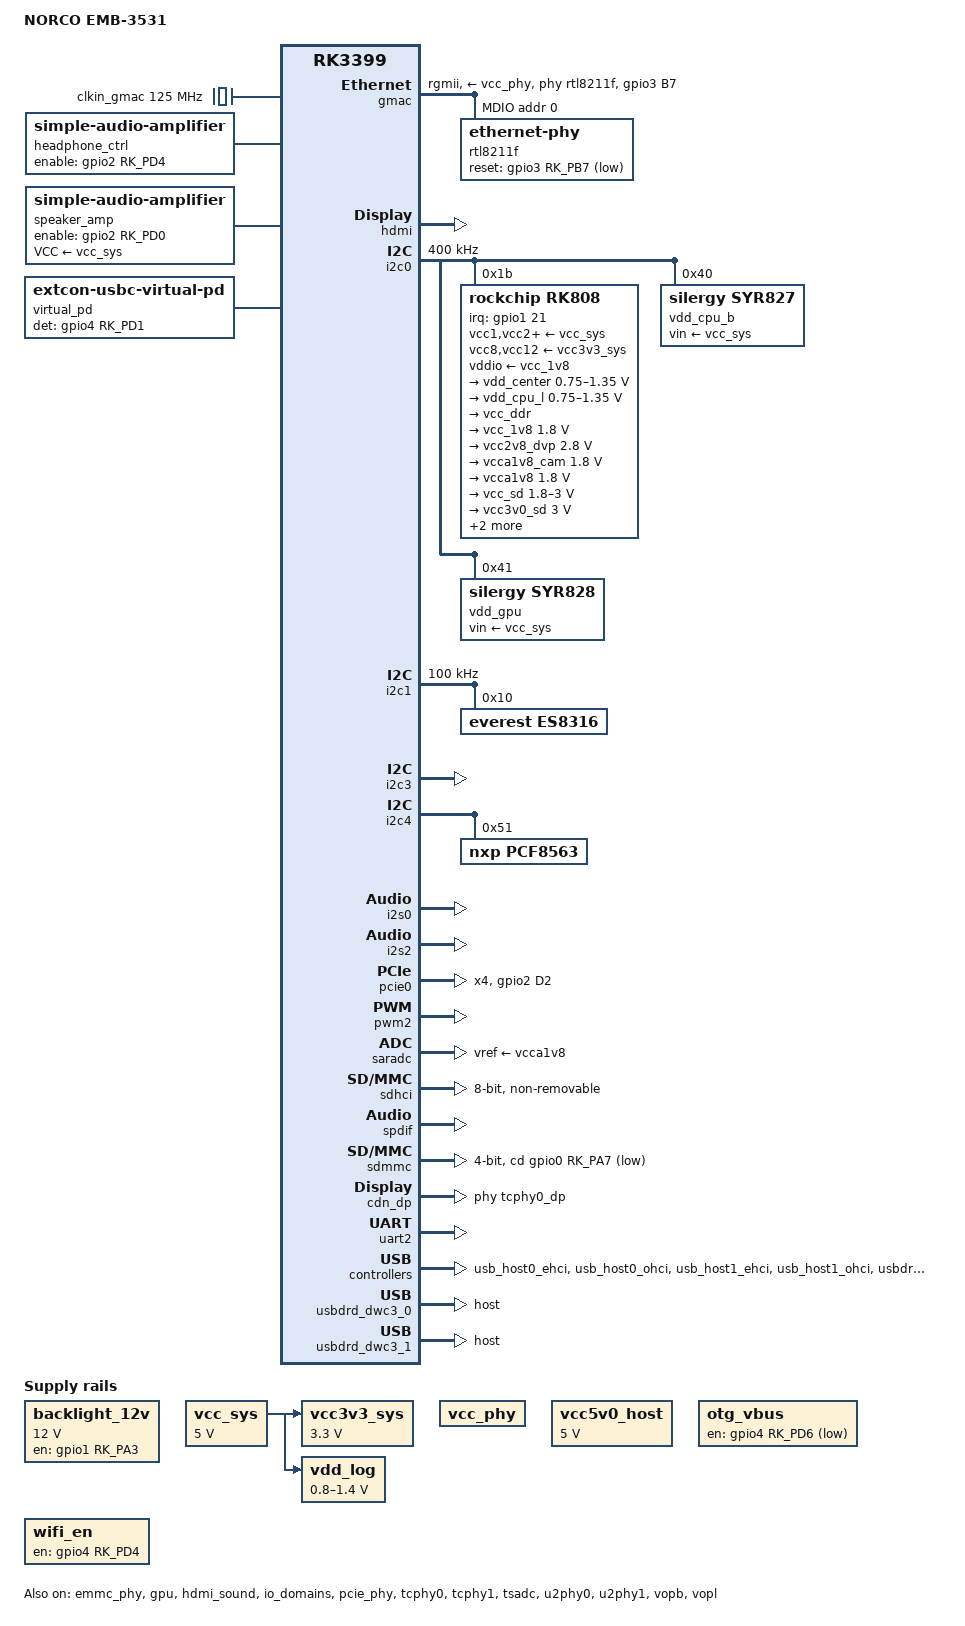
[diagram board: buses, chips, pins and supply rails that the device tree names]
// SPDX-License-Identifier: (GPL-2.0+ OR MIT)
/*
 * Copyright (c) 2017 Fuzhou Rockchip Electronics Co., Ltd.
 * Copyright (c) 2026 retro98boy <retro98boy@qq.com>
 */

/dts-v1/;

#include <dt-bindings/pwm/pwm.h>
#include "rk3399.dtsi"

/ {
	model = "NORCO EMB-3531";
	compatible = "norco,emb-3531", "rockchip,rk3399";

	aliases {
		ethernet0 = &gmac;
		mmc0 = &sdhci;
		mmc1 = &sdmmc;
		rtc0 = &pcf8563;
		rtc1 = &rk808;
	};

	chosen {
		stdout-path = "serial2:1500000n8";
	};

	clkin_gmac: external-gmac-clock {
		compatible = "fixed-clock";
		clock-frequency = <125000000>;
		clock-output-names = "clkin_gmac";
		#clock-cells = <0>;
	};

	analog-sound {
		compatible = "simple-audio-card";
		simple-audio-card,name = "emb-3531";
		simple-audio-card,format = "i2s";
		simple-audio-card,mclk-fs = <256>;

		simple-audio-card,widgets =
			"Microphone", "Mic Header",
			"Microphone", "Headset Mic",
			"Headphone", "Headphones",
			"Speaker", "Speakers";
		simple-audio-card,routing =
			"MIC1", "Mic Header",
			"MIC2", "Headset Mic",
			"Headphone Ctrl INL", "HPOL",
			"Headphone Ctrl INR", "HPOR",
			"Headphones", "Headphone Ctrl OUTL",
			"Headphones", "Headphone Ctrl OUTR",
			"Speaker Amplifier INL", "HPOL",
			"Speaker Amplifier INR", "HPOR",
			"Speakers", "Speaker Amplifier OUTL",
			"Speakers", "Speaker Amplifier OUTR";

		simple-audio-card,aux-devs = <&headphone_ctrl &speaker_amp>;
		simple-audio-card,pin-switches = "Headphones", "Speakers";

		simple-audio-card,cpu {
			sound-dai = <&i2s0>;
		};

		simple-audio-card,codec {
			sound-dai = <&es8316>;
		};
	};

	headphone_ctrl: headphone-ctrl {
		compatible = "simple-audio-amplifier";
		enable-gpios = <&gpio2 RK_PD4 GPIO_ACTIVE_HIGH>;
		pinctrl-names = "default";
		pinctrl-0 = <&headphone_en>;
		sound-name-prefix = "Headphone Ctrl";
	};

	speaker_amp: speaker-amplifier {
		compatible = "simple-audio-amplifier";
		enable-gpios = <&gpio2 RK_PD0 GPIO_ACTIVE_HIGH>;
		pinctrl-names = "default";
		pinctrl-0 = <&speaker_amp_en>;
		sound-name-prefix = "Speaker Amplifier";
		VCC-supply = <&vcc_sys>;
	};

	backlight_12v: regulator-backlight-12v {
		compatible = "regulator-fixed";
		enable-active-high;
		gpio = <&gpio1 RK_PA3 GPIO_ACTIVE_HIGH>;
		pinctrl-names = "default";
		pinctrl-0 = <&backlight_12v_en>;
		regulator-name = "backlight_12v";
		regulator-always-on;
		regulator-boot-on;
		regulator-min-microvolt = <12000000>;
		regulator-max-microvolt = <12000000>;
	};

	vcc_sys: regulator-vcc-sys {
		compatible = "regulator-fixed";
		regulator-name = "vcc_sys";
		regulator-always-on;
		regulator-boot-on;
		regulator-min-microvolt = <5000000>;
		regulator-max-microvolt = <5000000>;
	};

	vcc_phy: regulator-vcc-phy {
		compatible = "regulator-fixed";
		regulator-name = "vcc_phy";
		regulator-always-on;
		regulator-boot-on;
	};

	vcc3v3_sys: regulator-vcc3v3-sys {
		compatible = "regulator-fixed";
		regulator-name = "vcc3v3_sys";
		regulator-always-on;
		regulator-boot-on;
		regulator-min-microvolt = <3300000>;
		regulator-max-microvolt = <3300000>;
		vin-supply = <&vcc_sys>;
	};

	vcc5v0_host: regulator-vcc5v0-host {
		compatible = "regulator-fixed";
		regulator-name = "vcc5v0_host";
		regulator-always-on;
		regulator-boot-on;
		regulator-min-microvolt = <5000000>;
		regulator-max-microvolt = <5000000>;
	};

	/* Micro USB */
	regulator-otg-vbus {
		compatible = "regulator-fixed";
		enable-active-low;
		gpio = <&gpio4 RK_PD6 GPIO_ACTIVE_LOW>;
		pinctrl-names = "default";
		pinctrl-0 = <&otg_vbus_en>;
		regulator-name = "otg_vbus";
		regulator-always-on;
		regulator-boot-on;
	};

	/* RTL8188ETV */
	regulator-wifi-en {
		compatible = "regulator-fixed";
		enable-active-high;
		gpio = <&gpio4 RK_PD4 GPIO_ACTIVE_HIGH>;
		pinctrl-names = "default";
		pinctrl-0 = <&wifi_en>;
		regulator-name = "wifi_en";
		regulator-always-on;
		regulator-boot-on;
	};

	vdd_log: regulator-vdd-log {
		compatible = "pwm-regulator";
		pwms = <&pwm2 0 25000 1>;
		pwm-supply = <&vcc_sys>;
		regulator-name = "vdd_log";
		regulator-always-on;
		regulator-boot-on;
		regulator-min-microvolt = <800000>;
		regulator-max-microvolt = <1400000>;
	};

	virtual_pd: virtual-pd {
		compatible = "linux,extcon-usbc-virtual-pd";
		pinctrl-names = "default";
		pinctrl-0 = <&dp_hpd>;
		det-gpios = <&gpio4 RK_PD1 GPIO_ACTIVE_HIGH>;
		vpd-data-role = "display-port";
		vpd-super-speed;
	};

	dp-sound {
		compatible = "simple-audio-card";
		simple-audio-card,format = "i2s";
		simple-audio-card,mclk-fs = <256>;
		simple-audio-card,name = "dp-sound";

		simple-audio-card,cpu {
			/* sound-dai = <&i2s2>; */
			sound-dai = <&spdif>;
		};

		simple-audio-card,codec {
			/* sound-dai = <&cdn_dp 0>; */
			sound-dai = <&cdn_dp 1>;
		};
	};
};

&cpu_l0 {
	cpu-supply = <&vdd_cpu_l>;
};

&cpu_l1 {
	cpu-supply = <&vdd_cpu_l>;
};

&cpu_l2 {
	cpu-supply = <&vdd_cpu_l>;
};

&cpu_l3 {
	cpu-supply = <&vdd_cpu_l>;
};

&cpu_b0 {
	cpu-supply = <&vdd_cpu_b>;
};

&cpu_b1 {
	cpu-supply = <&vdd_cpu_b>;
};

&emmc_phy {
	status = "okay";
};

&gmac {
	assigned-clock-parents = <&clkin_gmac>;
	assigned-clocks = <&cru SCLK_RMII_SRC>;
	clock_in_out = "input";
	pinctrl-names = "default";
	pinctrl-0 = <&rgmii_pins>, <&phy_rst_l>;
	phy-handle = <&rtl8211f>;
	phy-mode = "rgmii";
	phy-supply = <&vcc_phy>;
	tx_delay = <0x23>;
	rx_delay = <0x23>;
	status = "okay";

	mdio {
		compatible = "snps,dwmac-mdio";
		#address-cells = <1>;
		#size-cells = <0>;

		rtl8211f: ethernet-phy@0 {
			reg = <0>;
			reset-assert-us = <10000>;
			reset-deassert-us = <30000>;
			reset-gpios = <&gpio3 RK_PB7 GPIO_ACTIVE_LOW>;
			realtek,led-data = <0x820b>;
		};
	};
};

&gpu {
	mali-supply = <&vdd_gpu>;
	status = "okay";
};

&hdmi {
	ddc-i2c-bus = <&i2c3>;
	pinctrl-names = "default";
	pinctrl-0 = <&hdmi_cec>;
	status = "okay";
};

&hdmi_sound {
	status = "okay";
};

&i2c0 {
	clock-frequency = <400000>;
	i2c-scl-rising-time-ns = <168>;
	i2c-scl-falling-time-ns = <4>;
	status = "okay";

	rk808: pmic@1b {
		compatible = "rockchip,rk808";
		reg = <0x1b>;
		interrupt-parent = <&gpio1>;
		interrupts = <21 IRQ_TYPE_LEVEL_LOW>;
		#clock-cells = <1>;
		clock-output-names = "xin32k", "rk808-clkout2";
		pinctrl-names = "default";
		pinctrl-0 = <&pmic_int_l>;
		system-power-controller;
		wakeup-source;

		vcc1-supply = <&vcc_sys>;
		vcc2-supply = <&vcc_sys>;
		vcc3-supply = <&vcc_sys>;
		vcc4-supply = <&vcc_sys>;
		vcc6-supply = <&vcc_sys>;
		vcc7-supply = <&vcc_sys>;
		vcc8-supply = <&vcc3v3_sys>;
		vcc9-supply = <&vcc_sys>;
		vcc10-supply = <&vcc_sys>;
		vcc11-supply = <&vcc_sys>;
		vcc12-supply = <&vcc3v3_sys>;
		vddio-supply = <&vcc_1v8>;

		regulators {
			vdd_center: DCDC_REG1 {
				regulator-name = "vdd_center";
				regulator-always-on;
				regulator-boot-on;
				regulator-min-microvolt = <750000>;
				regulator-max-microvolt = <1350000>;
				regulator-ramp-delay = <6001>;
				regulator-state-mem {
					regulator-off-in-suspend;
				};
			};

			vdd_cpu_l: DCDC_REG2 {
				regulator-name = "vdd_cpu_l";
				regulator-always-on;
				regulator-boot-on;
				regulator-min-microvolt = <750000>;
				regulator-max-microvolt = <1350000>;
				regulator-ramp-delay = <6001>;
				regulator-state-mem {
					regulator-off-in-suspend;
				};
			};

			vcc_ddr: DCDC_REG3 {
				regulator-name = "vcc_ddr";
				regulator-always-on;
				regulator-boot-on;
				regulator-state-mem {
					regulator-on-in-suspend;
				};
			};

			vcc_1v8: DCDC_REG4 {
				regulator-name = "vcc_1v8";
				regulator-always-on;
				regulator-boot-on;
				regulator-min-microvolt = <1800000>;
				regulator-max-microvolt = <1800000>;
				regulator-state-mem {
					regulator-on-in-suspend;
					regulator-suspend-microvolt = <1800000>;
				};
			};

			vcc2v8_dvp: LDO_REG1 {
				regulator-name = "vcc2v8_dvp";
				regulator-always-on;
				regulator-boot-on;
				regulator-min-microvolt = <2800000>;
				regulator-max-microvolt = <2800000>;
				regulator-state-mem {
					regulator-off-in-suspend;
				};
			};

			vcca1v8_cam: LDO_REG2 {
				regulator-name = "vcca1v8_cam";
				regulator-min-microvolt = <1800000>;
				regulator-max-microvolt = <1800000>;
				regulator-state-mem {
					regulator-off-in-suspend;
				};
			};

			vcca1v8: LDO_REG3 {
				regulator-name = "vcca1v8";
				regulator-always-on;
				regulator-boot-on;
				regulator-min-microvolt = <1800000>;
				regulator-max-microvolt = <1800000>;
				regulator-state-mem {
					regulator-on-in-suspend;
					regulator-suspend-microvolt = <1800000>;
				};
			};

			vcc_sd: LDO_REG4 {
				regulator-name = "vcc_sd";
				regulator-always-on;
				regulator-boot-on;
				regulator-min-microvolt = <1800000>;
				regulator-max-microvolt = <3000000>;
				regulator-state-mem {
					regulator-on-in-suspend;
					regulator-suspend-microvolt = <3000000>;
				};
			};

			vcc3v0_sd: LDO_REG5 {
				regulator-name = "vcc3v0_sd";
				regulator-always-on;
				regulator-boot-on;
				regulator-min-microvolt = <3000000>;
				regulator-max-microvolt = <3000000>;
				regulator-state-mem {
					regulator-off-in-suspend;
				};
			};

			vcc_1v5: LDO_REG6 {
				regulator-name = "vcc_1v5";
				regulator-always-on;
				regulator-boot-on;
				regulator-min-microvolt = <1500000>;
				regulator-max-microvolt = <1500000>;
				regulator-state-mem {
					regulator-off-in-suspend;
				};
			};

			vcca1v8_codec: LDO_REG7 {
				regulator-name = "vcca1v8_codec";
				regulator-always-on;
				regulator-boot-on;
				regulator-min-microvolt = <1800000>;
				regulator-max-microvolt = <1800000>;
				regulator-state-mem {
					regulator-off-in-suspend;
				};
			};

			vcc_3v0: LDO_REG8 {
				regulator-name = "vcc_3v0";
				regulator-always-on;
				regulator-boot-on;
				regulator-min-microvolt = <3000000>;
				regulator-max-microvolt = <3000000>;
				regulator-state-mem {
					regulator-on-in-suspend;
					regulator-suspend-microvolt = <3000000>;
				};
			};

			vcc3v3_s3: SWITCH_REG1 {
				regulator-name = "vcc3v3_s3";
				regulator-always-on;
				regulator-boot-on;
				regulator-state-mem {
					regulator-off-in-suspend;
				};
			};

			vcc3v3_s0: SWITCH_REG2 {
				regulator-name = "vcc3v3_s0";
				regulator-state-mem {
					regulator-off-in-suspend;
				};
			};
		};
	};

	vdd_cpu_b: regulator@40 {
		compatible = "silergy,syr827";
		reg = <0x40>;
		fcs,suspend-voltage-selector = <0>; /* Important!!! */
		pinctrl-names = "default";
		pinctrl-0 = <&vsel1_pin>;
		regulator-name = "vdd_cpu_b";
		regulator-min-microvolt = <712500>;
		regulator-max-microvolt = <1500000>;
		regulator-ramp-delay = <1000>;
		regulator-always-on;
		regulator-boot-on;
		vin-supply = <&vcc_sys>;

		regulator-state-mem {
			regulator-off-in-suspend;
		};
	};

	vdd_gpu: regulator@41 {
		compatible = "silergy,syr828";
		reg = <0x41>;
		fcs,suspend-voltage-selector = <1>;
		pinctrl-names = "default";
		pinctrl-0 = <&vsel2_pin>;
		regulator-name = "vdd_gpu";
		regulator-min-microvolt = <712500>;
		regulator-max-microvolt = <1500000>;
		regulator-ramp-delay = <1000>;
		regulator-always-on;
		regulator-boot-on;
		vin-supply = <&vcc_sys>;

		regulator-state-mem {
			regulator-off-in-suspend;
		};
	};
};

&i2c1 {
	clock-frequency = <100000>;
	i2c-scl-falling-time-ns = <4>;
	i2c-scl-rising-time-ns = <168>;
	status = "okay";

	es8316: audio-codec@10 {
		compatible = "everest,es8316";
		reg = <0x10>;
		clocks = <&cru SCLK_I2S_8CH_OUT>;
		clock-names = "mclk";
		#sound-dai-cells = <0>;
	};
};

&i2c3 {
	i2c-scl-falling-time-ns = <15>;
	i2c-scl-rising-time-ns = <450>;
	status = "okay";
};

&i2c4 {
	status = "okay";
	i2c-scl-rising-time-ns = <300>;
	i2c-scl-falling-time-ns = <300>;

	pcf8563: rtc@51 {
		compatible = "nxp,pcf8563";
		reg = <0x51>;
		#clock-cells = <0>;
	};
};

&i2s0 {
	rockchip,capture-channels = <2>;
	rockchip,playback-channels = <2>;
	status = "okay";
};

&i2s2 {
	status = "okay";
};

&io_domains {
	bt656-supply = <&vcc_3v0>;
	audio-supply = <&vcc_3v0>;
	sdmmc-supply = <&vcc_sd>;
	gpio1830-supply = <&vcc_3v0>;
	status = "okay";
};

&pcie0 {
	ep-gpios = <&gpio4 RK_PD5 GPIO_ACTIVE_HIGH>;
	num-lanes = <4>;
	max-link-speed = <2>;
	pinctrl-0 = <&pcie_clkreqn>;
	pinctrl-names = "default";
	status = "okay";
};

&pcie_phy {
	status = "okay";
};

&pinctrl {
	audio {
		headphone_en: headphone-en {
			rockchip,pins = <2 RK_PD4 RK_FUNC_GPIO &pcfg_pull_none>;
		};

		speaker_amp_en: speaker-amp-en {
			rockchip,pins = <2 RK_PD0 RK_FUNC_GPIO &pcfg_pull_none>;
		};
	};

	display {
		dp_hpd: dp-hpd {
			rockchip,pins = <4 RK_PD1 RK_FUNC_GPIO &pcfg_input_enable>;
		};

		backlight_12v_en: backlight-12v-en {
			rockchip,pins = <1 RK_PA3 RK_FUNC_GPIO &pcfg_pull_none>;
		};
	};

	gmac {
		phy_rst_l: phy-rst-l {
			rockchip,pins = <3 RK_PB7 RK_FUNC_GPIO &pcfg_pull_none>;
		};
	};

	pcie {
		pcie_clkreqn: pci-clkreqn {
			rockchip,pins = <2 RK_PD2 2 &pcfg_pull_none>;
		};
	};

	pmic {
		pmic_int_l: pmic-int-l {
			rockchip,pins = <1 RK_PC5 RK_FUNC_GPIO &pcfg_pull_up>;
		};

		vsel1_pin: vsel1-pin {
			rockchip,pins = <1 RK_PC2 RK_FUNC_GPIO &pcfg_pull_up>;
		};

		vsel2_pin: vsel2-pin {
			rockchip,pins = <1 RK_PB6 RK_FUNC_GPIO &pcfg_pull_down>;
		};
	};

	usb {
		otg_vbus_en: otg-vbus-en {
			rockchip,pins = <4 RK_PD6 RK_FUNC_GPIO &pcfg_pull_none>;
		};

		wifi_en: wifi-en {
			rockchip,pins = <4 RK_PD4 RK_FUNC_GPIO &pcfg_pull_none>;
		};
	};
};

&pmu_io_domains {
	pmu1830-supply = <&vcc_1v8>;
	status = "okay";
};

&pwm2 {
	status = "okay";
};

&saradc {
	vref-supply = <&vcca1v8>;
	status = "okay";
};

&sdhci {
	max-frequency = <150000000>;
	bus-width = <8>;
	mmc-hs400-1_8v;
	mmc-hs400-enhanced-strobe;
	non-removable;
	status = "okay";
};

&spdif {
	status = "okay";
};

&sdmmc {
	bus-width = <4>;
	cap-mmc-highspeed;
	cap-sd-highspeed;
	cd-gpios = <&gpio0 RK_PA7 GPIO_ACTIVE_LOW>;
	disable-wp;
	max-frequency = <150000000>;
	pinctrl-names = "default";
	pinctrl-0 = <&sdmmc_clk &sdmmc_cd &sdmmc_cmd &sdmmc_bus4>;
	vqmmc-supply = <&vcc_sd>;
	sd-uhs-sdr104;
	status = "okay";
};

&cdn_dp {
	phys = <&tcphy0_dp>;
	extcon = <&virtual_pd>;
	status = "okay";
};

&tcphy0 {
	extcon = <&virtual_pd>;
	status = "okay";
};

&tcphy1 {
	status = "okay";
};

&tsadc {
	/* tshut mode 0:CRU 1:GPIO */
	rockchip,hw-tshut-mode = <1>;
	/* tshut polarity 0:LOW 1:HIGH */
	rockchip,hw-tshut-polarity = <1>;
	status = "okay";
};

&u2phy0 {
	status = "okay";

	u2phy0_otg: otg-port {
		status = "okay";
	};

	u2phy0_host: host-port {
		phy-supply = <&vcc5v0_host>;
		status = "okay";
	};
};

&u2phy1 {
	status = "okay";

	u2phy1_otg: otg-port {
		status = "okay";
	};

	u2phy1_host: host-port {
		phy-supply = <&vcc5v0_host>;
		status = "okay";
	};
};

&uart2 {
	status = "okay";
};

&usb_host0_ehci {
	status = "okay";
};

&usb_host0_ohci {
	status = "okay";
};

&usb_host1_ehci {
	status = "okay";
};

&usb_host1_ohci {
	status = "okay";
};

&usbdrd3_0 {
	status = "okay";
};

&usbdrd_dwc3_0 {
	dr_mode = "host";
	status = "okay";
};

&usbdrd3_1 {
	status = "okay";
};

&usbdrd_dwc3_1 {
	dr_mode = "host";
	status = "okay";
};

&vopb {
	status = "okay";
};

&vopb_mmu {
	status = "okay";
};

&vopl {
	status = "okay";
};

&vopl_mmu {
	status = "okay";
};

&vopl_out_dp {
	status = "disabled";
};

&dp_in_vopl {
	status = "disabled";
};

&vopb_out_hdmi {
	status = "disabled";
};

&hdmi_in_vopb {
	status = "disabled";
};
